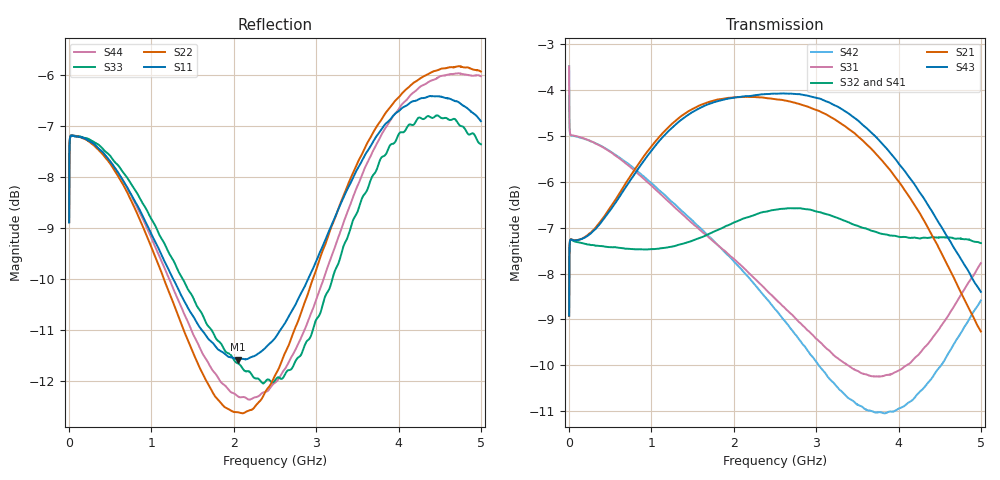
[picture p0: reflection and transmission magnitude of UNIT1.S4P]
!MINI CIRCUITS LABORATORY
!MODEL:TC1-1-13M+
!RUN/LOT/DATE CODE:MX88570
!FIXTURE USED:90-2-20-199,S/N66156
!CONNECTION:PORT1-PIN6,PORT2-PIN4,PORT3-PIN1,PORT4-PIN3; PIN 2,5-GRND
!Date: Fri Dec 14 11:53:35 2007
!Data & Calibration Information:
!Freq	S11:SOLT4(ON)	S12:SOLT4(ON)	S13:SOLT4(ON)	S14:SOLT4(ON)
!	S21:SOLT4(ON)	S22:SOLT4(ON)	S23:SOLT4(ON)	S24:SOLT4(ON)
!	S31:SOLT4(ON)	S32:SOLT4(ON)	S33:SOLT4(ON)	S34:SOLT4(ON)
!	S41:SOLT4(ON)	S42:SOLT4(ON)	S43:SOLT4(ON)	S44:SOLT4(ON)
# Hz S dB R 50
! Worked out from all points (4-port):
!   1601 points, 1 MHz to 5 GHz, reference 50 ohm
!   strongest paths, dB at 1 MHz, 1.251 GHz, 2.501 GHz, 3.75 GHz, 5 GHz:
!     S43: -8.9, -4.8, -4.1, -5.1, -8.4
!     S21: -8.9, -4.7, -4.2, -5.4, -9.3
!     S32: -8.9, -7.4, -6.6, -7.1, -7.3
!     S41: -8.9, -7.4, -6.7, -7.2, -7.4
!     S31: -3.5, -6.5, -8.5, -10.2, -7.8
!     S42: -3.5, -6.4, -8.8, -11.0, -8.6
!   lowest |S11| = -11.6 dB at 2.054 GHz (marker M1), VSWR 1.71, Z = 83.3 - j11.5 ohm
!   |S11| at or under -10 dB: 1.262 GHz to 2.904 GHz (1.641 GHz wide, 78.8 % of centre)
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1000000  -8.90 18.7  -8.92 18.8  -3.48 -9.9  -8.93 -161.3
         -8.92 18.8  -8.89 18.7  -8.92 -161.3  -3.48 -10.0
         -3.48 -10.0  -8.92 -161.3  -8.88 18.7  -8.91 18.7
         -8.92 -161.3  -3.48 -9.9  -8.91 18.7  -8.89 18.6
1.665919e8  -7.23 -3.9  -7.23 2.7  -5.05 -8.6  -7.35 169.6
            -7.23 2.7  -7.24 -4.6  -7.34 169.6  -5.05 -7.9
            -5.04 -8.6  -7.34 169.6  -7.23 -4.1  -7.23 2.6
            -7.34 169.6  -5.05 -7.9  -7.24 2.6  -7.23 -4.7
8.664519e8  -8.68 -20.3  -5.56 6.0  -5.87 -41.5  -7.46 129.2
            -5.55 6.0  -8.86 -23.2  -7.47 129.2  -5.83 -38.4
            -5.87 -41.5  -7.47 129.1  -8.44 -21.3  -5.64 6.3
            -7.47 129.1  -5.82 -38.4  -5.65 6.3  -8.73 -23.9
2.053714e9  -11.59 -14.1  -4.15 -11.8  -7.77 -95.4  -6.92 72.8
            -4.16 -11.9  -12.62 -13.1  -6.84 73.2  -7.82 -89.9
            -7.77 -95.4  -6.85 73.1  -11.67 -19.6  -4.15 -10.1
            -6.93 72.7  -7.83 -89.9  -4.15 -10.1  -12.32 -19.6
3.359703e9  -8.31 18.2  -4.80 -34.3  -9.96 -169.2  -6.97 19.1
            -4.80 -34.4  -8.27 23.4  -6.84 19.2  -10.61 -161.5
            -9.97 -169.2  -6.86 19.1  -9.27 18.8  -4.48 -32.4
            -7.00 19.1  -10.66 -161.6  -4.47 -32.3  -8.78 21.4
4.115802e9  -6.58 12.8  -6.30 -47.1  -9.95 149.4  -7.27 -4.9
            -6.29 -47.1  -6.25 17.8  -7.20 -4.9  -10.77 158.1
            -9.98 149.1  -7.22 -5.0  -7.00 14.3  -5.87 -45.0
            -7.28 -4.8  -10.82 158.1  -5.87 -45.0  -6.46 19.2
5e9  -6.91 -11.5  -9.27 -51.2  -7.72 102.4  -7.33 -36.1
     -9.26 -51.3  -5.93 -5.0  -7.31 -36.4  -8.51 113.6
     -7.77 102.2  -7.34 -36.4  -7.36 -7.7  -8.39 -49.4
     -7.36 -36.1  -8.59 113.6  -8.40 -49.5  -6.02 -0.5
